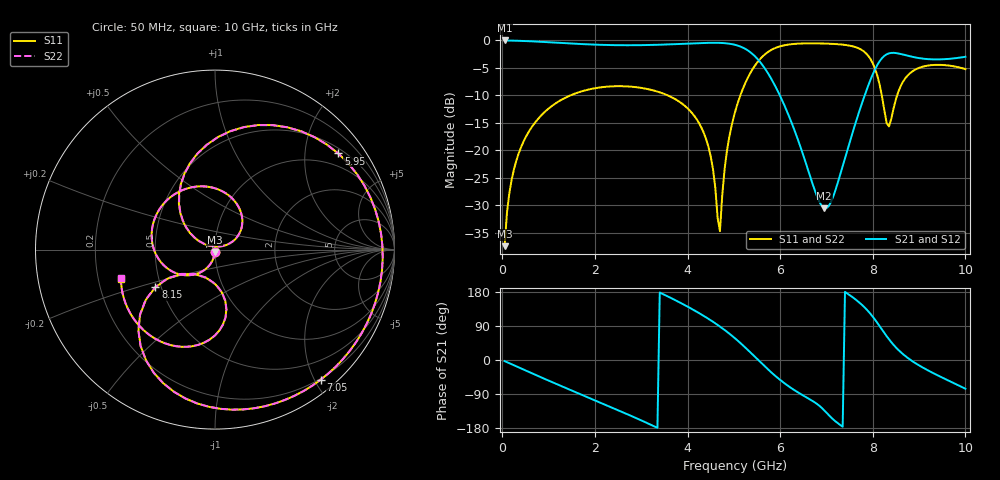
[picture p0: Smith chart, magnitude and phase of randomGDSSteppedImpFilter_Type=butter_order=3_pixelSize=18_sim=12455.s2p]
! freq	dB(S11)	phase(S11)	dB(S12)	phase(S12)
!  dB(S21)	phase(S21)	dB(S22)	phase(S22)
!S-par simulation data
#  GHz  S  DB  R 50
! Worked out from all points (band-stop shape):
!   200 points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, 50 MHz to 10 GHz, reference 50 ohm
!   highest |S21| = 0.00 dB at 50 MHz (marker M1); lowest = -30.5 dB at 6.95 GHz (marker M2)
!   |S21| within 3 dB of the highest: start of sweep to 5.469 GHz; 8.226 GHz to 8.867 GHz (641.6 MHz wide, 7.51 % of centre) (the widest 2 of 3)
!   lowest |S11| = -37.4 dB at 50 MHz (marker M3), VSWR 1.03, Z = 49.9 - j1.35 ohm
!   |S11| at or under -10 dB: start of sweep to 1.469 GHz; 3.575 GHz to 5.14 GHz (1.565 GHz wide, 35.9 % of centre); 8.195 GHz to 8.526 GHz (330.8 MHz wide, 3.96 % of centre)
!   |S22| runs from -37.4 to -0.5 dB; largest |S21 - S12| = 0
!   S11 on the Smith chart (normalised r, x): 50 MHz: 1.00, -0.03; 5.95 GHz: 0.63, +2.78; 7.05 GHz: 0.18, -2.09; 8.15 GHz: 0.47, -0.23; 10 GHz: 0.30, -0.14
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0.05  -37.40 -92.6  -0.00 -2.8  -0.00 -2.8  -37.40 -92.6
0.2  -25.40 -101.2  -0.03 -11.1  -0.03 -11.1  -25.40 -101.2
0.5  -17.67 -118.1  -0.11 -27.5  -0.11 -27.5  -17.67 -118.1
1.75  -9.17 175.8  -0.68 -93.5  -0.68 -93.5  -9.17 175.8
2.5  -8.31 136.9  -0.86 -132.5  -0.86 -132.5  -8.31 136.9
3.4  -9.43 87.9  -0.78 178.1  -0.78 178.1  -9.43 87.9
4.35  -16.79 30.0  -0.46 116.4  -0.46 116.4  -16.79 30.3
4.55  -23.41 22.0  -0.43 100.9  -0.43 100.9  -23.39 22.6
4.7  -34.66 110.8  -0.45 88.3  -0.45 88.3  -34.28 109.7
4.85  -20.14 152.4  -0.54 74.7  -0.54 74.7  -20.12 151.7
5.05  -12.31 138.1  -0.85 54.7  -0.85 54.7  -12.30 137.7
5.4  -5.29 100.4  -2.45 14.9  -2.45 14.9  -5.29 100.2
5.95  -1.20 38.0  -9.23 -47.6  -9.23 -47.6  -1.20 37.9
6.7  -0.53 -25.9  -26.07 -108.1  -26.07 -108.1  -0.53 -26.0
6.95  -0.56 -43.8  -30.50 -132.6  -30.50 -132.6  -0.56 -43.8
7.05  -0.59 -50.8  -30.10 -145.4  -30.10 -145.4  -0.59 -50.9
7.65  -1.28 -96.6  -14.42 157.7  -14.42 157.7  -1.28 -96.7
7.95  -3.37 -127.6  -7.17 121.8  -7.17 121.8  -3.37 -127.7
8.15  -8.11 -147.7  -3.76 89.0  -3.76 89.0  -8.13 -147.9
8.35  -15.63 -106.8  -2.35 54.7  -2.35 54.7  -15.71 -106.7
9  -4.99 -106.0  -3.21 -14.3  -3.21 -14.3  -4.99 -105.9
10  -5.22 -162.9  -2.97 -75.7  -2.97 -75.7  -5.22 -162.9
